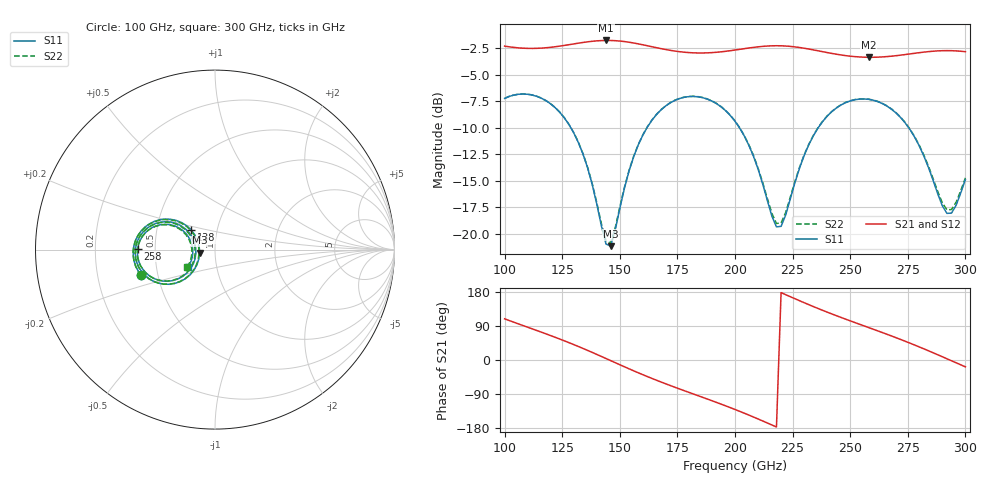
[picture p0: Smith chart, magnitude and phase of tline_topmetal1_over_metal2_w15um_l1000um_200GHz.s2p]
#  GHZ S DB R 50
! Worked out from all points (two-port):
!   101 points, 100 GHz to 300 GHz, reference 50 ohm
!   highest |S21| = -1.75 dB at 144 GHz (marker M1); lowest = -3.3 dB at 258 GHz (marker M2)
!   |S21| within 3 dB of the highest: start of sweep to end of sweep
!   lowest |S11| = -21.2 dB at 146 GHz (marker M3), VSWR 1.19, Z = 42.1 - j1.5 ohm
!   |S11| at or under -10 dB: 128.8 GHz to 161.8 GHz (33 GHz wide, 22.7 % of centre); 202 GHz to 236.1 GHz (34.09 GHz wide, 15.6 % of centre); 275.4 GHz to end of sweep
!   |S22| runs from -20.9 to -6.8 dB; largest |S21 - S12| = 8.9e-14
!   S11 on the Smith chart (normalised r, x): 100 GHz: 0.40, -0.14; 138 GHz: 0.75, +0.17; 258 GHz: 0.40, +0.01; 300 GHz: 0.72, -0.15
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100  -7.22 -160.9  -2.29 108.6  -2.29 108.6  -7.21 -160.8
108  -6.80 -175.9  -2.48 90.9  -2.48 90.9  -6.80 -175.6
118  -7.44 165.9  -2.44 68.9  -2.44 68.9  -7.43 166.3
126  -9.08 151.9  -2.22 50.4  -2.22 50.4  -9.06 152.4
134  -12.46 141.0  -1.94 30.6  -1.94 30.6  -12.41 141.8
138  -15.32 140.4  -1.83 20.1  -1.83 20.1  -15.23 141.4
144  -20.95 169.1  -1.75 3.9  -1.75 3.9  -20.65 169.7
146  -21.16 -168.3  -1.76 -1.5  -1.76 -1.5  -20.85 -168.6
156  -12.73 -135.4  -1.99 -28.5  -1.99 -28.5  -12.69 -135.9
168  -8.28 -152.8  -2.53 -58.3  -2.53 -58.3  -8.26 -152.8
184  -7.07 179.4  -2.93 -94.2  -2.93 -94.2  -7.05 179.6
200  -9.37 153.3  -2.66 -130.6  -2.66 -130.6  -9.34 153.8
208  -12.67 145.0  -2.41 -150.4  -2.41 -150.4  -12.60 145.9
218  -19.34 174.7  -2.25 -176.8  -2.25 -176.8  -19.01 175.1
222  -18.22 -154.9  -2.28 172.4  -2.28 172.4  -17.98 -155.8
234  -10.74 -143.6  -2.64 141.0  -2.64 141.0  -10.71 -144.1
246  -7.84 -161.2  -3.12 112.4  -3.12 112.4  -7.82 -161.3
258  -7.31 179.3  -3.34 85.6  -3.34 85.6  -7.29 179.4
268  -8.25 163.6  -3.23 63.2  -3.23 63.2  -8.23 164.0
280  -11.71 149.5  -2.90 34.4  -2.90 34.4  -11.64 150.3
292  -18.07 176.4  -2.71 3.2  -2.71 3.2  -17.73 176.7
300  -14.88 -146.9  -2.81 -18.0  -2.81 -18.0  -14.71 -148.0
